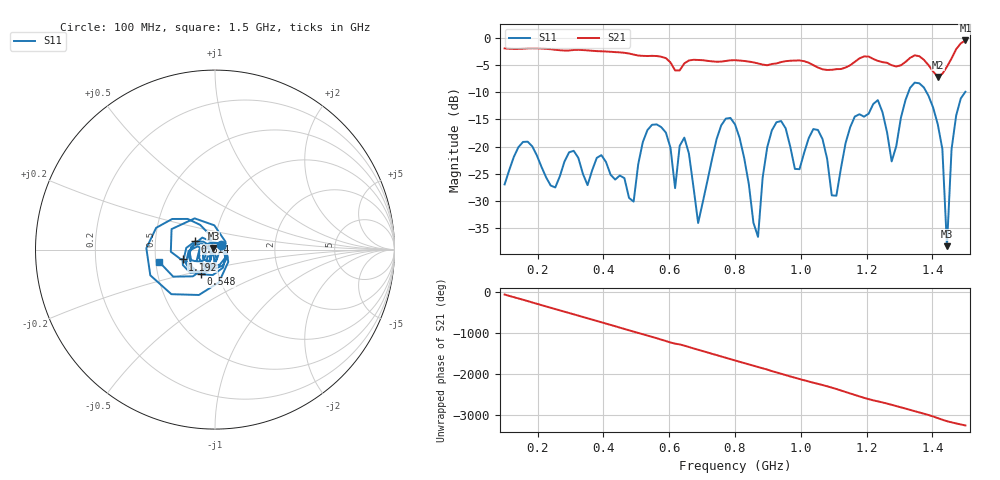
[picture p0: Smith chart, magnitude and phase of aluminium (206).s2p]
! NanoVNA-App
! Date: 2025-09-25 14:56:53
! Start: 100MHz Stop: 1,5GHz Points: 101
! S-Parameter data: F S11 S21 S12 S22
# Hz S RI R 50
!  Frequency  S11_Real  S11_Imag  S21_Real  S21_Imag  S12_Real  S12_Imag  S22_Real  S22_Imag
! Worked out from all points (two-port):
!   101 points, 100 MHz to 1.5 GHz, reference 50 ohm
!   highest |S21| = -0.46 dB at 1.5 GHz (marker M1); lowest = -7.2 dB at 1.416 GHz (marker M2)
!   |S21| within 3 dB of the highest: start of sweep to 576.2 MHz; 1.46 GHz to end of sweep (the widest 2 of 4)
!   lowest |S11| = -38.3 dB at 1.444 GHz (marker M3), VSWR 1.02, Z = 49.1 + j0.843 ohm
!   |S11| at or under -10 dB: start of sweep to 1.327 GHz; 1.382 GHz to 1.499 GHz (117 MHz wide, 8.12 % of centre)
!   S12 and S22 are empty: the file has one direction only
!   S11 on the Smith chart (normalised r, x): 100 MHz: 1.07, +0.06; 548 MHz: 0.82, -0.23; 814 MHz: 0.80, +0.07; 1.192 GHz: 0.69, -0.08; 1.5 GHz: 0.52, -0.08
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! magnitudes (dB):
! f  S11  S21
! 100 MHz  -27.0  -1.9
! 156 MHz  -19.1  -2.0
! 338 MHz  -25.0  -2.2
! 492 MHz  -30.1  -3.1
! 548 MHz  -16.0  -3.3
! 576 MHz  -16.4  -3.5
! 618 MHz  -27.6  -6.0
! 646 MHz  -18.3  -4.7
! 688 MHz  -34.1  -4.1
! 800 MHz  -15.9  -4.1
! 814 MHz  -18.4  -4.2
! 870 MHz  -36.6  -4.7
! 912 MHz  -17.0  -4.8
! 1.038 GHz  -16.8  -5.0
! 1.108 GHz  -29.0  -5.7
! 1.192 GHz  -14.5  -3.4
! 1.276 GHz  -22.7  -5.0
! 1.346 GHz  -8.2  -3.2
! 1.416 GHz  -15.9  -7.2
! 1.444 GHz  -38.3  -5.3
! 1.458 GHz  -20.5  -3.8
! 1.5 GHz  -9.9  -0.5
